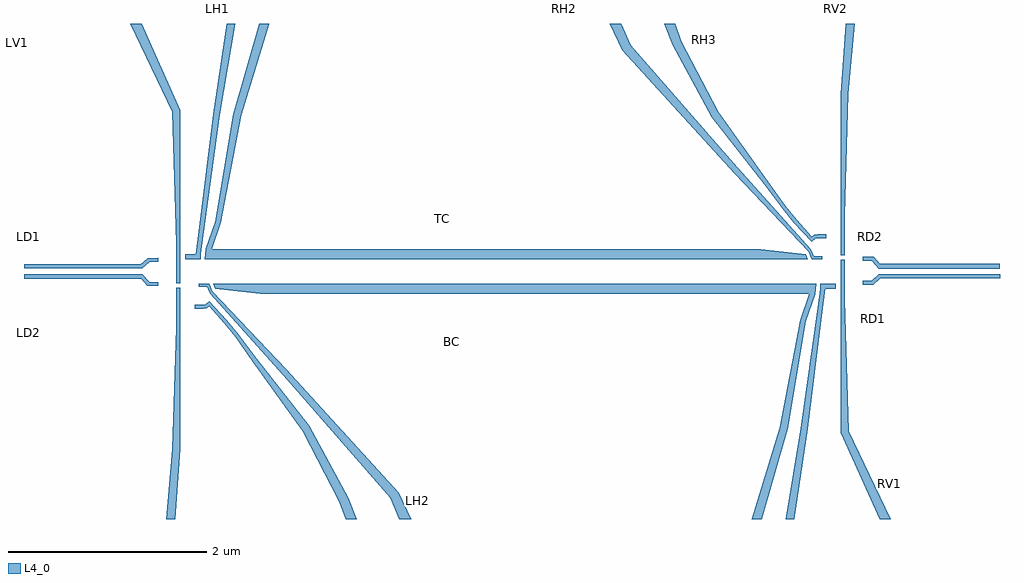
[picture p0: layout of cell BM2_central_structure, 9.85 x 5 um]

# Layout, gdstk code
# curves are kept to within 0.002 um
import gdstk
lib = gdstk.Library(unit=1e-6, precision=1e-09)
def P(c, l, *ps):  # polygons
    for p in ps: c.add(gdstk.Polygon(p, *l))
L4_0 = (4, 0)

bm2_central_structure = lib.new_cell('BM2_central_structure')
P(bm2_central_structure, L4_0, [(-1.664,-2.5),(-1.726,-2.325),(-2.096,-1.612),(-2.774,-0.664),(-2.889,-0.522),(-3.041,-0.35),(-3.067,-0.372),(-3.101,-0.377),(-3.185,-0.377),(-3.185,-0.337),(-3.101,-0.337),(-3.079,-0.334),(-3.039,-0.3),(-2.862,-0.494),(-2.743,-0.637),(-2.561,-0.88),(-2.032,-1.559),(-1.636,-2.281),(-1.553,-2.5)],
  [(-3.473,-2.5),(-3.412,-1.795),(-3.372,-0.566),(-3.372,-0.164),(-3.332,-0.164),(-3.332,-1.795),(-3.383,-2.5)],
  [(-1.121,-2.5),(-1.214,-2.284),(-2.253,-1.09),(-3.029,-0.223),(-3.041,-0.206),(-3.061,-0.156),(-3.148,-0.156),(-3.148,-0.126),(-3.039,-0.126),(-3.011,-0.198),(-2.263,-0.988),(-1.128,-2.232),(-1.002,-2.5)],
  [(2.435,-2.5),(2.717,-1.577),(2.923,-0.49),(3.013,-0.226),(-2.524,-0.226),(-2.981,-0.176),(-3,-0.126),(3.086,-0.126),(3.074,-0.231),(2.981,-0.504),(2.797,-1.587),(2.537,-2.5)],
  [(2.778,-2.5),(2.931,-1.58),(3.094,-0.4),(3.127,-0.178),(3.127,-0.126),(3.282,-0.126),(3.282,-0.176),(3.174,-0.176),(3.144,-0.406),(3,-1.586),(2.864,-2.5)],
  [(3.553,-0.134),(3.553,-0.094),(3.645,-0.092),(3.715,-0.028),(4.94,-0.028),(4.94,-0.068),(3.733,-0.068),(3.663,-0.132)],
  [(-3.553,-0.146),(-3.664,-0.144),(-3.726,-0.073),(-4.91,-0.073),(-4.91,-0.027),(-3.716,-0.027),(-3.645,-0.104),(-3.553,-0.106)],
  [(3.724,-2.5),(3.332,-1.626),(3.332,0.118),(3.372,0.118),(3.372,-0.284),(3.412,-1.61),(3.837,-2.5)],
  [(-4.91,0.031),(-4.91,0.071),(-3.733,0.071),(-3.663,0.135),(-3.553,0.137),(-3.553,0.097),(-3.645,0.095),(-3.715,0.031)],
  [(3.716,0.03),(3.645,0.107),(3.553,0.109),(3.553,0.149),(3.664,0.147),(3.726,0.076),(4.935,0.076),(4.935,0.03)],
  [(-3.282,0.126),(-3.282,0.176),(-3.175,0.176),(-3.145,0.406),(-3.001,1.586),(-2.865,2.5),(-2.779,2.5),(-2.932,1.58),(-3.095,0.4),(-3.128,0.178),(-3.128,0.126)],
  [(-3.086,0.126),(-3.074,0.231),(-2.981,0.504),(-2.797,1.587),(-2.537,2.5),(-2.435,2.5),(-2.717,1.577),(-2.923,0.49),(-3.013,0.226),(2.524,0.226),(2.981,0.176),(3,0.126)],
  [(3.038,0.126),(3.01,0.198),(2.262,0.988),(1.127,2.232),(1.001,2.5),(1.12,2.5),(1.213,2.284),(2.252,1.09),(3.028,0.223),(3.04,0.206),(3.06,0.156),(3.147,0.156),(3.147,0.126)],
  [(3.038,0.3),(2.861,0.494),(2.742,0.637),(2.56,0.88),(2.031,1.559),(1.635,2.281),(1.552,2.5),(1.663,2.5),(1.725,2.325),(2.095,1.612),(2.773,0.664),(2.888,0.522),(3.04,0.35),(3.066,0.372),(3.1,0.377),(3.184,0.377),(3.184,0.337),(3.1,0.337),(3.078,0.334)],
  [(3.331,0.164),(3.331,1.795),(3.382,2.5),(3.472,2.5),(3.411,1.795),(3.371,0.566),(3.371,0.164)],
  [(-3.372,-0.118),(-3.372,0.284),(-3.412,1.61),(-3.837,2.5),(-3.724,2.5),(-3.332,1.626),(-3.332,-0.118)])
bm2_central_structure.add(gdstk.Label('LD1', (-4.86,0.355), layer=4, texttype=0))
bm2_central_structure.add(gdstk.Label('LD2', (-4.86,-0.615), layer=4, texttype=0))
bm2_central_structure.add(gdstk.Label('LV1', (-4.985,2.315), layer=4, texttype=0))
bm2_central_structure.add(gdstk.Label('LH1', (-2.96,2.715), layer=4, texttype=0))
bm2_central_structure.add(gdstk.Label('TC', (-0.685,0.535), layer=4, texttype=0))
bm2_central_structure.add(gdstk.Label('BC', (-0.6,-0.71), layer=4, texttype=0))
bm2_central_structure.add(gdstk.Label('LV2', (-3.895,-2.835), layer=4, texttype=0))
bm2_central_structure.add(gdstk.Label('LH3', (-1.77,-2.85), layer=4, texttype=0))
bm2_central_structure.add(gdstk.Label('LH2', (-0.94,-2.31), layer=4, texttype=0))
bm2_central_structure.add(gdstk.Label('RH1', (2.73,-2.81), layer=4, texttype=0))
bm2_central_structure.add(gdstk.Label('RH2', (0.54,2.66), layer=4, texttype=0))
bm2_central_structure.add(gdstk.Label('RH3', (1.955,2.345), layer=4, texttype=0))
bm2_central_structure.add(gdstk.Label('RV1', (3.82,-2.135), layer=4, texttype=0))
bm2_central_structure.add(gdstk.Label('RV2', (3.28,2.65), layer=4, texttype=0))
bm2_central_structure.add(gdstk.Label('RD1', (3.665,-0.47), layer=4, texttype=0))
bm2_central_structure.add(gdstk.Label('RD2', (3.635,0.355), layer=4, texttype=0))

lib.write_gds('BM2_central_structure.gds')
